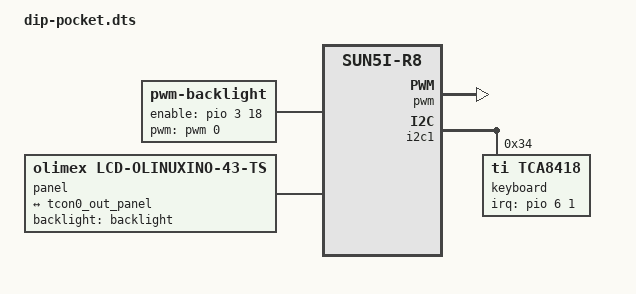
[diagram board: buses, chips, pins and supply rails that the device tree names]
/dts-v1/;
/plugin/;

/ {
	compatible = "nextthing,chip", "allwinner,sun5i-r8";

	/* Pinctrl changes */
	fragment@0 {
		target = <&pio>;

		__overlay__ {
			chip_bl_en: chip_backlight_enable@0 {
				allwinner,pins = "PD18";
				allwinner,function = "gpio_out";
				allwinner,drive = <0>;
				allwinner,pull = <0>;
			};
		};
	};

	/* Enable the PWM */
	fragment@1 {
		target = <&pwm>;

		__overlay__ {
			pinctrl-names = "default";
			pinctrl-0 = <&pwm0_pins>;
			status = "okay";
		};
	};

	/* And enable the backlight running on that PWM */
	fragment@2 {
		target-path = "/";

		__overlay__ {
			backlight: backlight {
				compatible = "pwm-backlight";
				pwms = <&pwm 0 5000 2>;

				brightness-levels = <0 10 20 30 40 50 60 70 80 90 100>;
				default-brightness-level = <8>;

				pinctrl-names = "default";
				pinctrl-0 = <&chip_bl_en>;
				enable-gpios = <&pio 3 18 0>;
			};
		};
	};

	/* Enable the I2C1 bus and the keyboard */
	fragment@3 {
		target = <&i2c1>;

		__overlay__ {
			#address-cells = <1>;

			#size-cells = <0>;
			pinctrl-names = "default";
			pinctrl-0 = <&i2c1_pins_a>;
			status = "okay";

			keyboard@34 {
				compatible = "ti,tca8418";
				reg = <0x34>;
				interrupt-parent = <&pio>;
				interrupts = <6 1 2>;

				keypad,num-rows = <6>;
				keypad,num-columns = <10>;
				keypad,autorepeat;
				linux,keymap = <
						0x00000002
						0x00010003
						0x00020004
						0x00030005
						0x00040006
						0x00050007
						0x00060008
						0x00070009
						0x0008000a
						0x0009000b

						0x01000010
						0x01010011
						0x01020012
						0x01030013
						0x01040014
						0x01050015
						0x01060016
						0x01070017
						0x01080018
						0x01090019

						0x0200001e
						0x0201001f
						0x02020020
						0x02030021
						0x02040022
						0x02050023
						0x02060024
						0x02070025
						0x02080026
						0x0209001c

						0x0300002a
						0x0301002c
						0x0302002d
						0x0303002e
						0x0304002f
						0x03050030
						0x03060031
						0x03070032
						0x03080067
						0x0309006c

						0x0400001d
						0x04010064
						0x04020038
						0x04030039
						0x0404000f
						0x04050035
						0x04060036
						0x04080069
						0x0409006a

						0x05000029
						0x0501004a
						0x0502004e
						0x0503000e
						0x05040034
				>;
			};
		};
	};

	/* Enable the touchscreen */
	fragment@4 {
		target = <&rtp>;

		__overlay__ {
			touchscreen-inverted-x;
			touchscreen-inverted-y;
			allwinner,ts-attached;
		};
	};

	/* Enable our panel */
	fragment@5 {
		target-path = "/";

		__overlay__ {
			panel {
				#address-cells = <1>;
				#size-cells = <0>;
				compatible = "olimex,lcd-olinuxino-43-ts";
				backlight = <&backlight>;

				port@0 {
					reg = <0>;
					#address-cells = <1>;
					#size-cells = <0>;

					panel_input: endpoint@0 {
						reg = <0>;
						remote-endpoint = <&tcon0_out_panel>;
					};
				};
			};
		};
	};

	/* Link the TCON with the panel */
	fragment@6 {
		target = <&tcon0_out>;

		__overlay__ {
			#address-cells = <1>;
			#size-cells = <0>;

			tcon0_out_panel: endpoint@1 {
				reg = <1>;
				remote-endpoint = <&panel_input>;
				allwinner,panel;
			};
		};
	};

	/* Register the LCD pins with pinctrl */
	fragment@7 {
		target = <&tcon0>;

		__overlay__ {
			pinctrl-names = "default";
			pinctrl-0 = <&lcd_rgb565_pins>;
		};
	};
};
